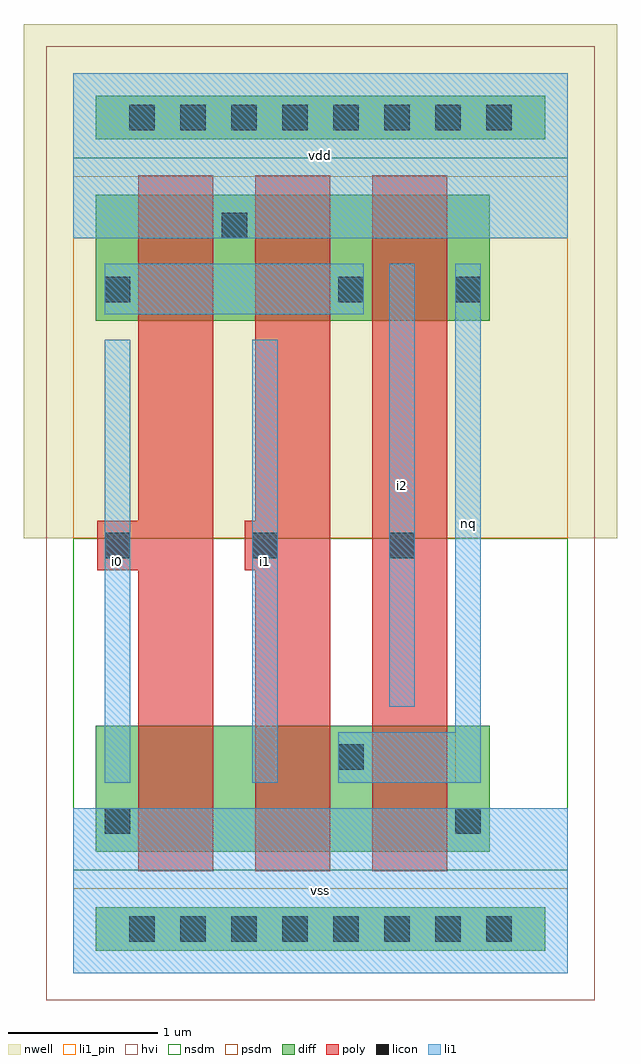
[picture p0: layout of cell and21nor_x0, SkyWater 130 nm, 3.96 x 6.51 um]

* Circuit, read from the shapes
.subckt and21nor_x0 i0 i1 i2 nq vdd vss
XM1 n1 i0 vss VSUBS sky130_fd_pr__nfet_g5v0d10v5 w=0.84 l=0.5
XM2 nq i1 n1 VSUBS sky130_fd_pr__nfet_g5v0d10v5 w=0.84 l=0.5
XM3 vss i2 nq VSUBS sky130_fd_pr__nfet_g5v0d10v5 w=0.84 l=0.5
XM4 vdd i0 n2 n3 sky130_fd_pr__pfet_g5v0d10v5 w=0.84 l=0.5
XM5 n2 i1 vdd n3 sky130_fd_pr__pfet_g5v0d10v5 w=0.84 l=0.5
XM6 nq i2 n2 n3 sky130_fd_pr__pfet_g5v0d10v5 w=0.84 l=0.5
.ends

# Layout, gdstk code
import gdstk
lib = gdstk.Library(unit=1e-6, precision=1e-09)
def R(c, l, rs):  # rectangles x0, y0, x1, y1
    for r in rs: c.add(gdstk.rectangle(r[:2], r[2:], *l))
def A(c, l, x, y, w, h, nx, ny, dx, dy):  # array of equal rectangles
    R(c, l, [(x+i*dx, y+j*dy, x+i*dx+w, y+j*dy+h) for i in range(nx) for j in range(ny)])
def P(c, l, *ps):  # polygons
    for p in ps: c.add(gdstk.Polygon(p, *l))
nwell = (64, 20)
diff = (65, 20)
poly = (66, 20)
licon = (66, 44)
li1_pin = (67, 16)
li1 = (67, 20)
hvi = (75, 20)
nsdm = (93, 44)
psdm = (94, 20)

and21nor_x0 = lib.new_cell('and21nor_x0')
R(and21nor_x0, nwell, [(-0.33,2.9,3.63,6.33)])
R(and21nor_x0, diff, [(0.15,0.15,3.15,0.44), (0.15,0.81,2.78,1.65), (0.15,4.35,2.78,5.19), (0.15,5.56,3.15,5.85)])
R(and21nor_x0, poly, [(1.995,0.68,2.495,5.32)])
P(and21nor_x0, poly, [(0.435,0.68),(0.435,2.685),(0.16,2.685),(0.16,3.015),(0.435,3.015),(0.435,5.32),(0.935,5.32),(0.935,0.68)],
  [(1.215,0.68),(1.215,2.685),(1.145,2.685),(1.145,3.015),(1.215,3.015),(1.215,5.32),(1.715,5.32),(1.715,0.68)])
A(and21nor_x0, licon, 0.375, 0.21, 0.17, 0.17, 8, 2, 0.34, 5.41)
R(and21nor_x0, licon, [(0.21,0.93,0.38,1.1), (2.55,0.93,2.72,1.1), (1.77,1.355,1.94,1.525), (0.21,2.765,0.38,2.935), (1.195,2.765,1.365,2.935), (2.11,2.765,2.28,2.935), (0.21,4.475,0.38,4.645), (1.77,4.475,1.94,4.645), (2.55,4.475,2.72,4.645), (0.99,4.9,1.16,5.07)])
R(and21nor_x0, li1_pin, [(0,0,3.3,1.1), (0.21,1.27,0.38,4.225), (1.195,1.27,1.365,4.225), (2.55,1.27,2.72,4.73), (2.11,1.775,2.28,4.73), (0,4.9,3.3,6)])
R(and21nor_x0, li1, [(0,0,3.3,1.1), (0.21,1.27,0.38,4.225), (1.195,1.27,1.365,4.225), (2.11,1.775,2.28,4.73), (0.21,4.395,1.94,4.73), (0,4.9,3.3,6)])
P(and21nor_x0, li1, [(1.77,1.27),(1.77,1.605),(2.55,1.605),(2.55,4.73),(2.72,4.73),(2.72,1.27)])
R(and21nor_x0, hvi, [(-0.18,-0.18,3.48,6.18)])
R(and21nor_x0, nsdm, [(0,0.685,3.3,2.9), (0,5.435,3.3,6)])
R(and21nor_x0, psdm, [(0,0,3.3,0.565), (0,2.9,3.3,5.315)])
and21nor_x0.add(gdstk.Label('vss', (1.65,0.55), layer=67, texttype=16))
and21nor_x0.add(gdstk.Label('vdd', (1.65,5.45), layer=67, texttype=16))
and21nor_x0.add(gdstk.Label('i0', (0.295,2.748), layer=67, texttype=16))
and21nor_x0.add(gdstk.Label('nq', (2.635,3), layer=67, texttype=16))
and21nor_x0.add(gdstk.Label('i1', (1.28,2.748), layer=67, texttype=16))
and21nor_x0.add(gdstk.Label('i2', (2.195,3.253), layer=67, texttype=16))

lib.write_gds('and21nor_x0.gds')
